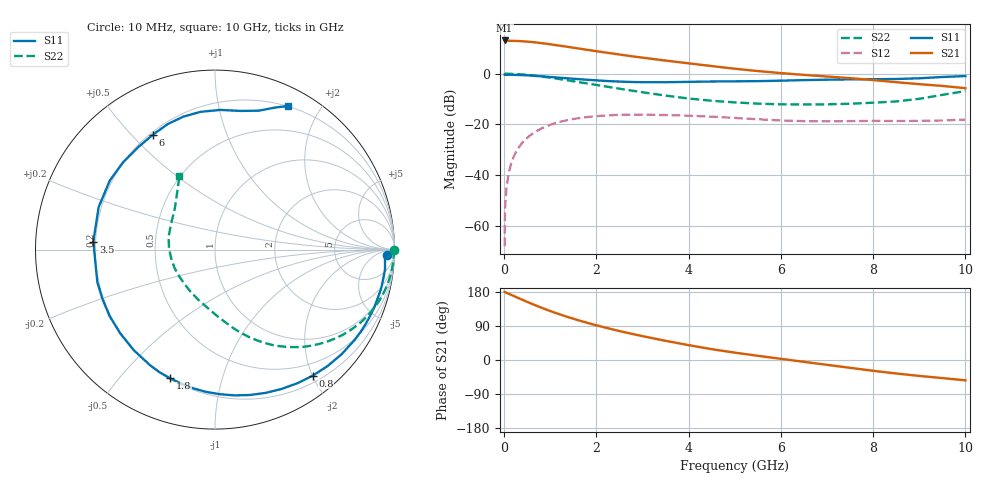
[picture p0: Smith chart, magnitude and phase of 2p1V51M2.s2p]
! (c) 2009  Infineon Technologies AG, Munich
! Infineon Technologies  Discrete & RF Semiconductors
! BFP420
! VCE =  1.5 V,  IC =  1.2 mA
! Common Emitter S-Parameters:  Nov 2009
# GHz  S  MA  R  50
!  f  S11  S21  S12  S22
! GHz  MAG  ANG  MAG  ANG  MAG  ANG  MAG  ANG
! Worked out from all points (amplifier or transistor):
!   46 points, 10 MHz to 10 GHz, reference 50 ohm
!   highest |S21| = 13.1 dB at 10 MHz (marker M1)
!   |S21| within 3 dB of that: start of sweep to 1.552 GHz
!   unconditionally stable (mu >= 1): 4.264 GHz to end of sweep
!   at 300 MHz: K = 0.03, MSG = 21.2 dB, |S12| = -29.5 dB
!   at 1.7 GHz: K = 0.30, MSG = 13.5 dB, |S12| = -17.3 dB
!   at 10 GHz: K = 1.30, MAG = 2.9 dB, |S12| = -18.1 dB
!   lowest NFmin = 0.53 dB at 900 MHz
!   S11 on the Smith chart (normalised r, x): 10 MHz: 32, -22; 800 MHz: 0.30, -2.01; 1.8 GHz: 0.20, -0.69; 3.5 GHz: 0.19, +0.03; 6 GHz: 0.21, +0.58; 10 GHz: 0.20, +1.61
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0.01  0.9588 -1.7  4.513 179.5  0.0004 97.2  0.9965 -0.1
0.02  0.9509 -1.3  4.372 179.4  0.0023 92.1  0.996 -0.7
0.05  0.9484 -3.2  4.412 177.3  0.0056 87.8  0.9962 -2.0
0.1  0.9537 -6.6  4.436 174.8  0.0111 86.3  0.995 -4.0
0.15  0.9514 -9.9  4.439 172.0  0.0168 84.2  0.9924 -6.0
0.3  0.9442 -19.8  4.395 163.9  0.0334 78.1  0.9788 -11.9
0.5  0.9265 -32.9  4.282 153.4  0.0545 70.1  0.948 -19.5
0.8  0.8888 -52.2  4.003 138.4  0.0826 58.5  0.8832 -30.0
1  0.8602 -64.6  3.793 129.2  0.0985 51.4  0.8337 -36.4
1.2  0.8331 -76.5  3.569 120.6  0.112 44.7  0.7828 -42.2
1.7  0.7694 -104.3  3.052 101.6  0.1364 30.2  0.6633 -54.6
1.8  0.7594 -109.3  2.949 98.1  0.1397 27.5  0.6418 -56.8
2.2  0.7202 -129.0  2.609 85.3  0.15 18.0  0.5609 -64.8
2.6  0.6941 -147.8  2.317 73.6  0.155 9.4  0.4899 -72.2
3  0.6801 -164.6  2.068 63.0  0.1559 2.0  0.4311 -79.1
3.5  0.6793 176.2  1.811 50.6  0.1533 -5.9  0.3699 -88.2
4.5  0.7012 146.7  1.412 28.6  0.1422 -17.4  0.2928 -109.1
5.5  0.7131 127.0  1.126 11.1  0.1265 -23.8  0.2568 -131.0
6  0.7282 118.3  1.027 3.1  0.1198 -24.7  0.2491 -143.0
7  0.7616 103.4  0.879 -12.8  0.1153 -24.4  0.2487 -167.8
8.5  0.7855 79.6  0.68 -35.6  0.1171 -26.6  0.2838 149.5
10  0.8979 63.0  0.517 -53.6  0.1247 -26.4  0.4543 115.9
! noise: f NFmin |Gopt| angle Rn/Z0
0.9  0.53  0.62  33  0.31
1.8  1.1  0.4  77  0.24
2.4  1.23  0.41  100  0.2
3  1.51  0.41  132  0.14
4  1.8  0.44  -175  0.09
5  2.23  0.45  -132  0.38
6  3.18  0.57  -116  0.44
